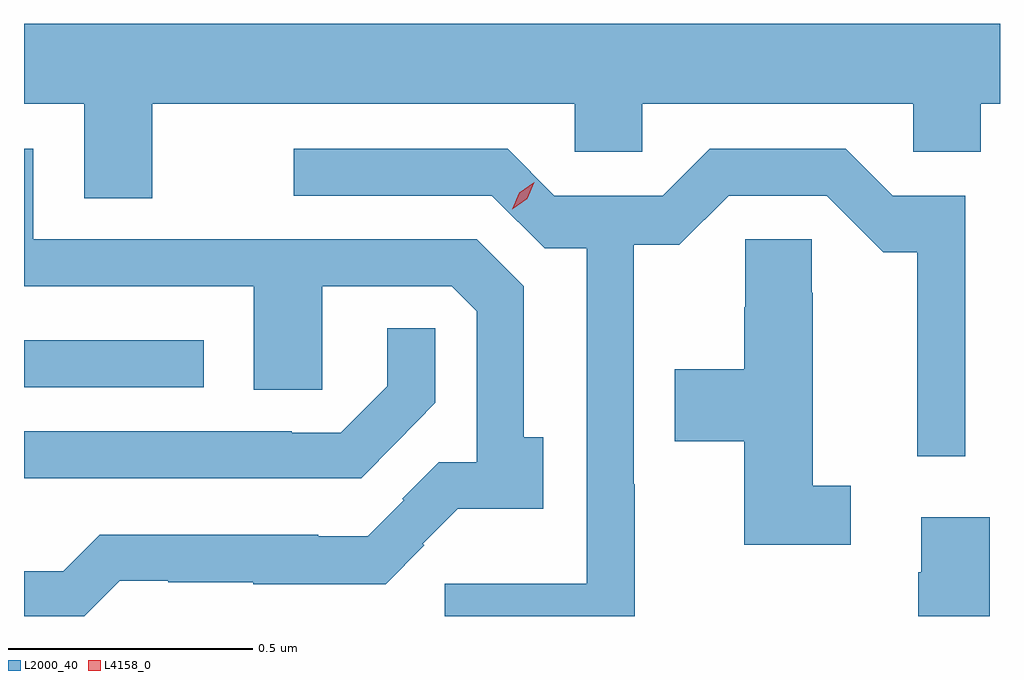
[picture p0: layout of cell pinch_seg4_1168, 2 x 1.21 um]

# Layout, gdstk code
import gdstk
lib = gdstk.Library(unit=1e-6, precision=1e-09)
def R(c, l, rs):  # rectangles x0, y0, x1, y1
    for r in rs: c.add(gdstk.rectangle(r[:2], r[2:], *l))
def P(c, l, *ps):  # polygons
    for p in ps: c.add(gdstk.Polygon(p, *l))
L2000_40 = (2000, 40)
L4158_0 = (4158, 0)

pinch_seg4_1168 = lib.new_cell('pinch_seg4_1168')
R(pinch_seg4_1168, L2000_40, [(472.016,782.919,472.384,783.015)])
P(pinch_seg4_1168, L2000_40, [(472.279,783.5),(473.145,783.5),(473.145,783.402),(473.283,783.402),(473.283,783.5),(473.838,783.5),(473.838,783.402),(473.977,783.402),(473.977,783.5),(474.016,783.5),(474.016,783.664),(472.016,783.664),(472.016,783.5),(472.139,783.5),(472.139,783.307),(472.279,783.307)],
  [(473.268,782.72),(473.265,782.72),(473.265,783.211),(473.359,783.211),(473.46,783.312),(473.661,783.312),(473.777,783.196),(473.846,783.196),(473.846,782.778),(473.945,782.778),(473.945,783.312),(473.796,783.312),(473.7,783.408),(473.421,783.408),(473.325,783.312),(473.103,783.312),(473.007,783.408),(472.569,783.408),(472.569,783.312),(472.974,783.312),(473.083,783.204),(473.169,783.204),(473.169,782.517),(472.878,782.517),(472.878,782.45),(473.268,782.45)],
  [(472.212,782.523),(472.312,782.523),(472.312,782.52),(472.486,782.52),(472.486,782.516),(472.757,782.516),(472.836,782.595),(472.833,782.598),(472.905,782.67),(473.08,782.67),(473.08,782.817),(473.04,782.817),(473.04,783.126),(472.944,783.222),(472.035,783.222),(472.035,783.408),(472.016,783.408),(472.016,783.126),(472.487,783.126),(472.487,782.914),(472.627,782.914),(472.627,783.126),(472.893,783.126),(472.944,783.075),(472.944,782.766),(472.866,782.766),(472.791,782.691),(472.794,782.688),(472.72,782.614),(472.619,782.614),(472.619,782.617),(472.171,782.617),(472.096,782.542),(472.016,782.542),(472.016,782.45),(472.139,782.45)],
  [(473.71,782.717),(473.632,782.717),(473.632,783.113),(473.63,783.113),(473.63,783.222),(473.494,783.222),(473.494,783.083),(473.492,783.083),(473.492,782.956),(473.35,782.956),(473.35,782.809),(473.492,782.809),(473.492,782.596),(473.71,782.596)],
  [(472.78,782.807),(472.859,782.887),(472.859,783.04),(472.76,783.04),(472.76,782.921),(472.665,782.826),(472.565,782.826),(472.565,782.829),(472.016,782.829),(472.016,782.733),(472.707,782.733)],
  [(473.995,782.653),(473.855,782.653),(473.855,782.54),(473.848,782.54),(473.848,782.45),(473.995,782.45)])
P(pinch_seg4_1168, L4158_0, [(473.016,783.284),(473.016,783.284),(473.031,783.318),(473.062,783.339),(473.062,783.339),(473.062,783.339),(473.047,783.305),(473.016,783.284)])

lib.write_gds('pinch_seg4_1168.gds')
